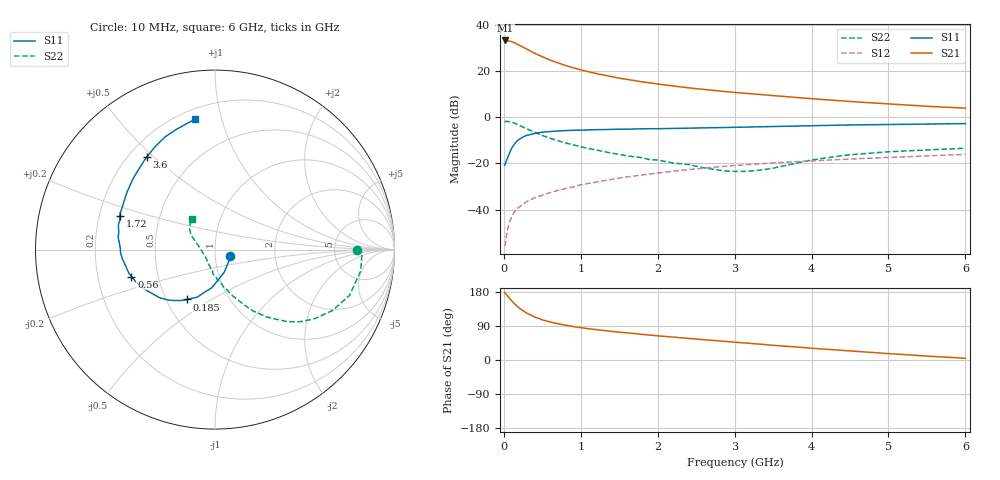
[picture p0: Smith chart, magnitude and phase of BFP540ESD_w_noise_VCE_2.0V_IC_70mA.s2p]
! Infineon Technologies  Discrete & RF Semiconductors
! BFP540ESD
! VCE =  2.0 V,  IC =  70 mA
! Common Emitter S-Parameters:  Nov 2015
# GHz  S  MA  R  50
!  f  S11  S21  S12  S22
! GHz  MAG  ANG  MAG  ANG  MAG  ANG  MAG  ANG
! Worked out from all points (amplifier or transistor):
!   210 points, 10 MHz to 6 GHz, reference 50 ohm
!   highest |S21| = 33.4 dB at 20 MHz (marker M1)
!   |S21| within 3 dB of that: start of sweep to 253.8 MHz
!   unconditionally stable (mu >= 1): start of sweep to 44.12 MHz; 911 MHz to end of sweep
!   at 185 MHz: K = 0.55, MSG = 35.5 dB, |S12| = -39.3 dB
!   at 1.52 GHz: K = 1.11, MAG = 19.6 dB, |S12| = -26.2 dB
!   at 6 GHz: K = 1.15, MAG = 7.7 dB, |S12| = -16.1 dB
!   lowest NFmin = 2.19 dB at 900 MHz
!   S11 on the Smith chart (normalised r, x): 10 MHz: 1.18, -0.08; 185 MHz: 0.63, -0.39; 560 MHz: 0.35, -0.14; 1.72 GHz: 0.29, +0.16; 3.6 GHz: 0.27, +0.48; 6 GHz: 0.26, +0.83
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0.01  0.0915 -22.4  46.91 178.0  0.0016 123.3  0.7888 -0.1
0.02  0.0992 -38.0  46.95 175.8  0.0018 98.3  0.8199 -1.6
0.05  0.1364 -67.8  46.61 168.3  0.0038 91.4  0.8202 -8.4
0.1  0.2123 -94.5  44.43 156.4  0.0068 76.4  0.7918 -18.8
0.15  0.2835 -110.7  40.99 145.9  0.0096 71.3  0.7372 -27.4
0.185  0.3191 -119.4  38.23 139.9  0.0109 69.3  0.6926 -32.4
0.26  0.3836 -133.0  32.81 128.3  0.0133 67.9  0.6068 -41.6
0.3  0.4086 -138.9  30.18 123.2  0.0149 65.1  0.5628 -45.3
0.34  0.4225 -143.7  27.9 119.7  0.0161 64.2  0.5263 -47.9
0.4  0.4484 -150.2  24.7 113.4  0.0179 63.1  0.474 -52.4
0.5  0.4782 -158.4  20.7 105.9  0.0206 64.1  0.4044 -58.0
0.56  0.4889 -162.1  18.82 102.8  0.0223 64.1  0.3732 -60.2
0.8  0.5186 -174.3  13.43 91.6  0.0285 63.8  0.2792 -68.8
1.02  0.5298 177.9  10.59 84.8  0.0349 64.0  0.2262 -74.4
1.3  0.5443 170.1  8.287 77.8  0.0423 62.7  0.1811 -80.9
1.72  0.5625 160.5  6.21 69.0  0.0543 60.8  0.1389 -93.8
2.02  0.5699 154.4  5.255 63.5  0.0628 58.7  0.1173 -100.3
3.1  0.6146 134.5  3.38 45.5  0.0926 49.6  0.0672 -152.4
3.6  0.6412 126.2  2.878 37.3  0.1052 44.5  0.086 172.9
4.1  0.6667 119.1  2.482 29.7  0.1159 39.8  0.126 155.2
5.1  0.7057 107.0  1.919 15.6  0.1375 30.4  0.183 140.2
6  0.7343 98.6  1.591 4.5  0.157 23.3  0.2136 126.6
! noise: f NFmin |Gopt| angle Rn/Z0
0.9  2.19  0.56  -140  0.19
1.8  2.37  0.58  -141  0.19
2.4  2.45  0.6  -131  0.27
3  2.62  0.61  -121  0.38
4  2.73  0.68  -101  0.74
5  2.88  0.76  -86  1.12
6  3.49  0.68  -82  1.8
